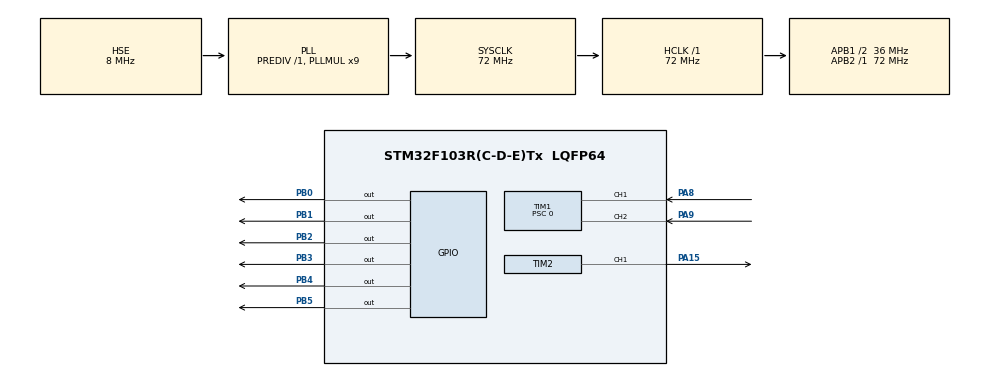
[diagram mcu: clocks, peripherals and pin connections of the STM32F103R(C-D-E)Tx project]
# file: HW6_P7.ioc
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Mcu.Family=STM32F1
Mcu.Name=STM32F103R(C-D-E)Tx
Mcu.Package=LQFP64
NVIC.PriorityGroup=NVIC_PRIORITYGROUP_4
NVIC.TIM1_CC_IRQn=true\:0\:0\:false\:false\:true\:true\:true\:true
PA13.Mode=Serial_Wire
PA13.Signal=SYS_JTMS-SWDIO
PA14.Mode=Serial_Wire
PA14.Signal=SYS_JTCK-SWCLK
PA15.GPIO_Speed=GPIO_SPEED_FREQ_HIGH
PA15.Signal=S_TIM2_CH1_ETR
PA8.Signal=S_TIM1_CH1
PA9.Signal=S_TIM1_CH2
PB0.Signal=GPIO_Output
PB1.Signal=GPIO_Output
PB2.Signal=GPIO_Output
PB3.Signal=GPIO_Output
PB4.Signal=GPIO_Output
PB5.Signal=GPIO_Output
PD0-OSC_IN.Mode=HSE-External-Oscillator
PD0-OSC_IN.Signal=RCC_OSC_IN
PD1-OSC_OUT.Mode=HSE-External-Oscillator
PD1-OSC_OUT.Signal=RCC_OSC_OUT
ProjectManager.HeapSize=0x200
ProjectManager.StackSize=0x400
ProjectManager.TargetToolchain=MDK-ARM V5.32
RCC.ADCPresc=RCC_ADCPCLK2_DIV6
RCC.AHBFreq_Value=72000000
RCC.APB1CLKDivider=RCC_HCLK_DIV2
RCC.APB1Freq_Value=36000000
RCC.APB1TimFreq_Value=72000000
RCC.APB2Freq_Value=72000000
RCC.APB2TimFreq_Value=72000000
RCC.HCLKFreq_Value=72000000
RCC.PLLMUL=RCC_PLL_MUL9
RCC.PLLSourceVirtual=RCC_PLLSOURCE_HSE
RCC.SYSCLKFreq_VALUE=72000000
RCC.SYSCLKSource=RCC_SYSCLKSOURCE_PLLCLK
RCC.USBFreq_Value=72000000
SH.S_TIM1_CH1.0=TIM1_CH1
SH.S_TIM1_CH1.1=TIM1_CH1,Input_Capture1_from_TI1
SH.S_TIM1_CH2.0=TIM1_CH2,Input_Capture2_from_TI2
SH.S_TIM2_CH1_ETR.0=TIM2_CH1,PWM Generation1 CH1
TIM1.Channel-Input_Capture1_from_TI1=TIM_CHANNEL_1
TIM1.Channel-Input_Capture2_from_TI2=TIM_CHANNEL_2
TIM1.ICPolarity_CH2=TIM_INPUTCHANNELPOLARITY_FALLING
TIM1.Prescaler=0
TIM2.Channel-PWM\ Generation1\ CH1=TIM_CHANNEL_1
TIM2.Period=1439
TIM2.Prescaler=0
TIM2.Pulse-PWM\ Generation1\ CH1=72
VP_TIM1_VS_ClockSourceINT.Mode=Internal
VP_TIM2_VS_ClockSourceINT.Mode=Internal
board=custom

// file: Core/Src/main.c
/* USER CODE BEGIN Header */
/**
  ******************************************************************************
  * @file           : main.c
  * @brief          : Main program body
  ******************************************************************************
  * @attention
  *
  * Copyright (c) 2026 STMicroelectronics.
  * All rights reserved.
  *
  * This software is licensed under terms that can be found in the LICENSE file
  * in the root directory of this software component.
  * If no LICENSE file comes with this software, it is provided AS-IS.
  *
  ******************************************************************************
  */
/* USER CODE END Header */
#include "main.h"

/* USER CODE BEGIN Includes */
#include <stdio.h>
#include "lcd.h"
/* USER CODE END Includes */

TIM_HandleTypeDef htim1;
TIM_HandleTypeDef htim2;

/* USER CODE BEGIN PV */
volatile uint32_t Period_Ticks = 0;
volatile uint32_t Pulse_Ticks = 0;
volatile float Measured_Freq = 0;
volatile float Measured_Duty = 0;
char lcd_buffer[16];
/* USER CODE END PV */

void SystemClock_Config(void);
static void MX_GPIO_Init(void);
static void MX_TIM2_Init(void);
static void MX_TIM1_Init(void);

/* USER CODE BEGIN 0 */
volatile uint16_t previous_rising = 0;
volatile uint16_t Difference_Pulse = 0, Difference_Period = 0;
volatile uint8_t Data_Ready = 0;

void HAL_TIM_IC_CaptureCallback(TIM_HandleTypeDef *htim)
{
    // Make sure we are looking at TIM1, and only firing on the Falling Edge (CH2)
    if (htim->Instance == TIM1 && htim->Channel == HAL_TIM_ACTIVE_CHANNEL_2)
    {
        uint16_t current_rising = (uint16_t)HAL_TIM_ReadCapturedValue(htim, TIM_CHANNEL_1);
        uint16_t current_falling = (uint16_t)HAL_TIM_ReadCapturedValue(htim, TIM_CHANNEL_2);

        // Ignore the very first garbage pulse on startup
        if (previous_rising != 0)
        {
            Difference_Period = current_rising - previous_rising;
            Difference_Pulse = current_falling - current_rising;
            Data_Ready = 1;
        }

        previous_rising = current_rising;
    }
}
/* USER CODE END 0 */

int main(void)
{

  /* USER CODE BEGIN 1 */
  Lcd_PortType ports[] = {GPIOB, GPIOB, GPIOB, GPIOB};
  Lcd_PinType pins[] = {GPIO_PIN_0, GPIO_PIN_1, GPIO_PIN_2, GPIO_PIN_3};
  /* USER CODE END 1 */

  /* MCU Configuration--------------------------------------------------------*/

  /* Reset of all peripherals, Initializes the Flash interface and the Systick. */
  HAL_Init();

  /* Configure the system clock */
  SystemClock_Config();

  /* Initialize all configured peripherals */
  MX_GPIO_Init();
  MX_TIM2_Init();
  MX_TIM1_Init();
  /* USER CODE BEGIN 2 */
  Lcd_HandleTypeDef lcd;
  lcd = Lcd_create(ports, pins, GPIOB, GPIO_PIN_4, GPIOB, GPIO_PIN_5, LCD_4_BIT_MODE);
  Lcd_clear(&lcd);

	HAL_TIM_PWM_Start(&htim2, TIM_CHANNEL_1);
  HAL_TIM_IC_Start(&htim1, TIM_CHANNEL_1);
  HAL_TIM_IC_Start_IT(&htim1, TIM_CHANNEL_2);

  /* USER CODE END 2 */

  /* Infinite loop */
  /* USER CODE BEGIN WHILE */
  while (1)
  {
      if (Data_Ready == 1)
      {
          Measured_Freq = 72000000.0 / Difference_Period;
          Measured_Duty = ((float)Difference_Pulse / (float)Difference_Period)/2 * 100.0; // 2 is for using two direct inputs

          sprintf(lcd_buffer, "F: %.1f kHz", (Measured_Freq / 1000.0));
          Lcd_clear(&lcd);
          Lcd_cursor(&lcd, 0, 0);
          Lcd_string(&lcd, lcd_buffer);

          sprintf(lcd_buffer, "D: %.1f %%", Measured_Duty);
          Lcd_cursor(&lcd, 1, 0);
          Lcd_string(&lcd, lcd_buffer);

          Data_Ready = 0;
      }
      HAL_Delay(500);
    /* USER CODE END WHILE */

  }
}

void SystemClock_Config(void)
{
  RCC_OscInitTypeDef RCC_OscInitStruct = {0};
  RCC_ClkInitTypeDef RCC_ClkInitStruct = {0};

  /** Initializes the RCC Oscillators according to the specified parameters
  * in the RCC_OscInitTypeDef structure.
  */
  RCC_OscInitStruct.OscillatorType = RCC_OSCILLATORTYPE_HSE;
  RCC_OscInitStruct.HSEState = RCC_HSE_ON;
  RCC_OscInitStruct.HSEPredivValue = RCC_HSE_PREDIV_DIV1;
  RCC_OscInitStruct.HSIState = RCC_HSI_ON;
  RCC_OscInitStruct.PLL.PLLState = RCC_PLL_ON;
  RCC_OscInitStruct.PLL.PLLSource = RCC_PLLSOURCE_HSE;
  RCC_OscInitStruct.PLL.PLLMUL = RCC_PLL_MUL9;
  if (HAL_RCC_OscConfig(&RCC_OscInitStruct) != HAL_OK)
  {
    Error_Handler();
  }

  /** Initializes the CPU, AHB and APB buses clocks
  */
  RCC_ClkInitStruct.ClockType = RCC_CLOCKTYPE_HCLK|RCC_CLOCKTYPE_SYSCLK
                              |RCC_CLOCKTYPE_PCLK1|RCC_CLOCKTYPE_PCLK2;
  RCC_ClkInitStruct.SYSCLKSource = RCC_SYSCLKSOURCE_PLLCLK;
  RCC_ClkInitStruct.AHBCLKDivider = RCC_SYSCLK_DIV1;
  RCC_ClkInitStruct.APB1CLKDivider = RCC_HCLK_DIV2;
  RCC_ClkInitStruct.APB2CLKDivider = RCC_HCLK_DIV1;

  if (HAL_RCC_ClockConfig(&RCC_ClkInitStruct, FLASH_LATENCY_2) != HAL_OK)
  {
    Error_Handler();
  }
}

static void MX_TIM1_Init(void)
{

  TIM_ClockConfigTypeDef sClockSourceConfig = {0};
  TIM_MasterConfigTypeDef sMasterConfig = {0};
  TIM_IC_InitTypeDef sConfigIC = {0};

  htim1.Instance = TIM1;
  htim1.Init.Prescaler = 0;
  htim1.Init.CounterMode = TIM_COUNTERMODE_UP;
  htim1.Init.Period = 65535;
  htim1.Init.ClockDivision = TIM_CLOCKDIVISION_DIV1;
  htim1.Init.RepetitionCounter = 0;
  htim1.Init.AutoReloadPreload = TIM_AUTORELOAD_PRELOAD_DISABLE;
  if (HAL_TIM_Base_Init(&htim1) != HAL_OK)
  {
    Error_Handler();
  }
  sClockSourceConfig.ClockSource = TIM_CLOCKSOURCE_INTERNAL;
  if (HAL_TIM_ConfigClockSource(&htim1, &sClockSourceConfig) != HAL_OK)
  {
    Error_Handler();
  }
  if (HAL_TIM_IC_Init(&htim1) != HAL_OK)
  {
    Error_Handler();
  }
  sMasterConfig.MasterOutputTrigger = TIM_TRGO_RESET;
  sMasterConfig.MasterSlaveMode = TIM_MASTERSLAVEMODE_DISABLE;
  if (HAL_TIMEx_MasterConfigSynchronization(&htim1, &sMasterConfig) != HAL_OK)
  {
    Error_Handler();
  }
  sConfigIC.ICPolarity = TIM_INPUTCHANNELPOLARITY_RISING;
  sConfigIC.ICSelection = TIM_ICSELECTION_DIRECTTI;
  sConfigIC.ICPrescaler = TIM_ICPSC_DIV1;
  sConfigIC.ICFilter = 0;
  if (HAL_TIM_IC_ConfigChannel(&htim1, &sConfigIC, TIM_CHANNEL_1) != HAL_OK)
  {
    Error_Handler();
  }
  sConfigIC.ICPolarity = TIM_INPUTCHANNELPOLARITY_FALLING;
  if (HAL_TIM_IC_ConfigChannel(&htim1, &sConfigIC, TIM_CHANNEL_2) != HAL_OK)
  {
    Error_Handler();
  }

}

static void MX_TIM2_Init(void)
{

  TIM_ClockConfigTypeDef sClockSourceConfig = {0};
  TIM_MasterConfigTypeDef sMasterConfig = {0};
  TIM_OC_InitTypeDef sConfigOC = {0};

  htim2.Instance = TIM2;
  htim2.Init.Prescaler = 0;
  htim2.Init.CounterMode = TIM_COUNTERMODE_UP;
  htim2.Init.Period = 1439;
  htim2.Init.ClockDivision = TIM_CLOCKDIVISION_DIV1;
  htim2.Init.AutoReloadPreload = TIM_AUTORELOAD_PRELOAD_DISABLE;
  if (HAL_TIM_Base_Init(&htim2) != HAL_OK)
  {
    Error_Handler();
  }
  sClockSourceConfig.ClockSource = TIM_CLOCKSOURCE_INTERNAL;
  if (HAL_TIM_ConfigClockSource(&htim2, &sClockSourceConfig) != HAL_OK)
  {
    Error_Handler();
  }
  if (HAL_TIM_PWM_Init(&htim2) != HAL_OK)
  {
    Error_Handler();
  }
  sMasterConfig.MasterOutputTrigger = TIM_TRGO_RESET;
  sMasterConfig.MasterSlaveMode = TIM_MASTERSLAVEMODE_DISABLE;
  if (HAL_TIMEx_MasterConfigSynchronization(&htim2, &sMasterConfig) != HAL_OK)
  {
    Error_Handler();
  }
  sConfigOC.OCMode = TIM_OCMODE_PWM1;
  sConfigOC.Pulse = 72;
  sConfigOC.OCPolarity = TIM_OCPOLARITY_HIGH;
  sConfigOC.OCFastMode = TIM_OCFAST_DISABLE;
  if (HAL_TIM_PWM_ConfigChannel(&htim2, &sConfigOC, TIM_CHANNEL_1) != HAL_OK)
  {
    Error_Handler();
  }
  HAL_TIM_MspPostInit(&htim2);

}

static void MX_GPIO_Init(void)
{
  GPIO_InitTypeDef GPIO_InitStruct = {0};

  /* GPIO Ports Clock Enable */
  __HAL_RCC_GPIOD_CLK_ENABLE();
  __HAL_RCC_GPIOB_CLK_ENABLE();
  __HAL_RCC_GPIOA_CLK_ENABLE();

  /*Configure GPIO pin Output Level */
  HAL_GPIO_WritePin(GPIOB, GPIO_PIN_0|GPIO_PIN_1|GPIO_PIN_2|GPIO_PIN_3
                          |GPIO_PIN_4|GPIO_PIN_5, GPIO_PIN_RESET);

  /*Configure GPIO pins : PB0 PB1 PB2 PB3
                           PB4 PB5 */
  GPIO_InitStruct.Pin = GPIO_PIN_0|GPIO_PIN_1|GPIO_PIN_2|GPIO_PIN_3
                          |GPIO_PIN_4|GPIO_PIN_5;
  GPIO_InitStruct.Mode = GPIO_MODE_OUTPUT_PP;
  GPIO_InitStruct.Pull = GPIO_NOPULL;
  GPIO_InitStruct.Speed = GPIO_SPEED_FREQ_LOW;
  HAL_GPIO_Init(GPIOB, &GPIO_InitStruct);

}

void Error_Handler(void)
{
  __disable_irq();
  while (1)
  {
  }
}
